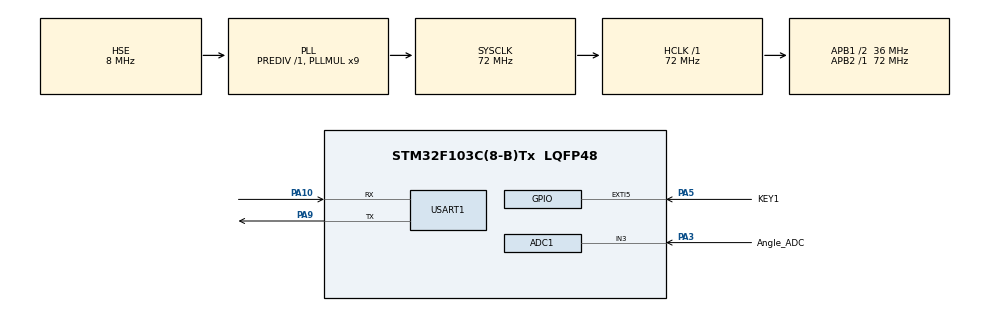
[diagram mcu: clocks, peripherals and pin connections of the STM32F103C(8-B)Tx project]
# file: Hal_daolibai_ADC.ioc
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ADC1.Channel-0\#ChannelRegularConversion=ADC_CHANNEL_3
ADC1.ContinuousConvMode=ENABLE
ADC1.DataAlign=ADC_DATAALIGN_RIGHT
ADC1.DiscontinuousConvMode=DISABLE
ADC1.EnableAnalogWatchDog=false
ADC1.EnableRegularConversion=ENABLE
ADC1.ExternalTrigConv=ADC_SOFTWARE_START
ADC1.InjNumberOfConversion=0
ADC1.NbrOfConversion=1
ADC1.NbrOfConversionFlag=1
ADC1.Rank-0\#ChannelRegularConversion=1
ADC1.SamplingTime-0\#ChannelRegularConversion=ADC_SAMPLETIME_55CYCLES_5
ADC1.ScanConvMode=ADC_SCAN_DISABLE
ADC1.master=1
Mcu.Family=STM32F1
Mcu.Name=STM32F103C(8-B)Tx
Mcu.Package=LQFP48
NVIC.ADC1_2_IRQn=true\:2\:0\:true\:false\:true\:true
NVIC.EXTI9_5_IRQn=true\:1\:0\:true\:false\:true\:true
NVIC.PriorityGroup=NVIC_PRIORITYGROUP_4
NVIC.TIM1_UP_IRQn=true\:0\:0\:false\:false\:true\:true
PA10.Mode=Asynchronous
PA10.Signal=USART1_RX
PA13.Mode=Serial_Wire
PA13.Signal=SYS_JTMS-SWDIO
PA14.Mode=Serial_Wire
PA14.Signal=SYS_JTCK-SWCLK
PA3.GPIO_Label=Angle_ADC
PA3.Signal=ADCx_IN3
PA5.GPIO_Label=KEY1
PA5.GPIO_ModeDefaultEXTI=GPIO_MODE_IT_FALLING
PA5.GPIO_PuPd=GPIO_PULLUP
PA5.Signal=GPXTI5
PA9.Mode=Asynchronous
PA9.Signal=USART1_TX
PD0-OSC_IN.Mode=HSE-External-Oscillator
PD0-OSC_IN.Signal=RCC_OSC_IN
PD1-OSC_OUT.Mode=HSE-External-Oscillator
PD1-OSC_OUT.Signal=RCC_OSC_OUT
ProjectManager.HeapSize=0x200
ProjectManager.StackSize=0x400
ProjectManager.TargetToolchain=MDK-ARM V5
RCC.ADCPresc=RCC_ADCPCLK2_DIV6
RCC.AHBFreq_Value=72000000
RCC.APB1CLKDivider=RCC_HCLK_DIV2
RCC.APB1Freq_Value=36000000
RCC.APB1TimFreq_Value=72000000
RCC.APB2Freq_Value=72000000
RCC.APB2TimFreq_Value=72000000
RCC.HCLKFreq_Value=72000000
RCC.PLLMUL=RCC_PLL_MUL9
RCC.PLLSourceVirtual=RCC_PLLSOURCE_HSE
RCC.SYSCLKFreq_VALUE=72000000
RCC.SYSCLKSource=RCC_SYSCLKSOURCE_PLLCLK
RCC.USBFreq_Value=72000000
SH.ADCx_IN3.0=ADC1_IN3,IN3
TIM1.Period=5000
TIM1.Prescaler=71
USART1.VirtualMode=VM_ASYNC
VP_TIM1_VS_ClockSourceINT.Mode=Internal
board=custom

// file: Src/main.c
/**
  ******************************************************************************
  * @file           : main.c
  * @brief          : Main program body
  ******************************************************************************
  ** This notice applies to any and all portions of this file
  * that are not between comment pairs USER CODE BEGIN and
  * USER CODE END. Other portions of this file, whether
  * inserted by the user or by software development tools
  * are owned by their respective copyright owners.
  *
  * COPYRIGHT(c) 2019 STMicroelectronics
  *
  * Redistribution and use in source and binary forms, with or without modification,
  * are permitted provided that the following conditions are met:
  *   1. Redistributions of source code must retain the above copyright notice,
  *      this list of conditions and the following disclaimer.
  *   2. Redistributions in binary form must reproduce the above copyright notice,
  *      this list of conditions and the following disclaimer in the documentation
  *      and/or other materials provided with the distribution.
  *   3. Neither the name of STMicroelectronics nor the names of its contributors
  *      may be used to endorse or promote products derived from this software
  *      without specific prior written permission.
  *
  * THIS SOFTWARE IS PROVIDED BY THE COPYRIGHT HOLDERS AND CONTRIBUTORS "AS IS"
  * AND ANY EXPRESS OR IMPLIED WARRANTIES, INCLUDING, BUT NOT LIMITED TO, THE
  * IMPLIED WARRANTIES OF MERCHANTABILITY AND FITNESS FOR A PARTICULAR PURPOSE ARE
  * DISCLAIMED. IN NO EVENT SHALL THE COPYRIGHT HOLDER OR CONTRIBUTORS BE LIABLE
  * FOR ANY DIRECT, INDIRECT, INCIDENTAL, SPECIAL, EXEMPLARY, OR CONSEQUENTIAL
  * DAMAGES (INCLUDING, BUT NOT LIMITED TO, PROCUREMENT OF SUBSTITUTE GOODS OR
  * SERVICES; LOSS OF USE, DATA, OR PROFITS; OR BUSINESS INTERRUPTION) HOWEVER
  * CAUSED AND ON ANY THEORY OF LIABILITY, WHETHER IN CONTRACT, STRICT LIABILITY,
  * OR TORT (INCLUDING NEGLIGENCE OR OTHERWISE) ARISING IN ANY WAY OUT OF THE USE
  * OF THIS SOFTWARE, EVEN IF ADVISED OF THE POSSIBILITY OF SUCH DAMAGE.
  *
  ******************************************************************************
  */
#include "main.h"
#include "stm32f1xx_hal.h"
#include "adc.h"
#include "tim.h"
#include "usart.h"
#include "gpio.h"

/* USER CODE BEGIN Includes */

#define USART_FLAG_CTS                       ((uint16_t)0x0200)
#define USART_FLAG_LBD                       ((uint16_t)0x0100)
#define USART_FLAG_TXE                       ((uint16_t)0x0080)
#define USART_FLAG_TC                        ((uint16_t)0x0040)
#define USART_FLAG_RXNE                      ((uint16_t)0x0020)
#define USART_FLAG_IDLE                      ((uint16_t)0x0010)
#define USART_FLAG_ORE                       ((uint16_t)0x0008)
#define USART_FLAG_NE                        ((uint16_t)0x0004)
#define USART_FLAG_FE                        ((uint16_t)0x0002)
#define USART_FLAG_PE                        ((uint16_t)0x0001)

#include "stdio.h"
#ifdef __GNUC__
#define PUTCHAR_PROTOTYPE int __io_putchar(int ch)
#else
#define PUTCHAR_PROTOTYPE int fputc(int ch, FILE *f)
#endif /* __GNUC__ */
PUTCHAR_PROTOTYPE
{
	HAL_UART_Transmit(&huart1 , (uint8_t *)&ch, 1, 0xFFFF);
	return ch;
}

FlagStatus USART_GetFlagStatus(USART_TypeDef* USARTx, uint16_t USART_FLAG)
{
  FlagStatus bitstatus = RESET;
  /* Check the parameters */
  assert_param(IS_USART_ALL_PERIPH(USARTx));
  assert_param(IS_USART_FLAG(USART_FLAG));
  /* The CTS flag is not available for UART4 and UART5 */
  if (USART_FLAG == USART_FLAG_CTS)
  {
    assert_param(IS_USART_123_PERIPH(USARTx));
  }

  if ((USARTx->SR & USART_FLAG) != (uint16_t)RESET)
  {
    bitstatus = SET;
  }
  else
  {
    bitstatus = RESET;
  }
  return bitstatus;
}

void USART_SendData(USART_TypeDef* USARTx, uint16_t Data)
{
  /* Check the parameters */
  assert_param(IS_USART_ALL_PERIPH(USARTx));
  assert_param(IS_USART_DATA(Data));

  /* Transmit Data */
  USARTx->DR = (Data & (uint16_t)0x01FF);
}

/* USER CODE END Includes */

/* USER CODE BEGIN PV */
/* Private variables ---------------------------------------------------------*/

__IO float ADC_ConvertedValueLocal;			// 用于保存转换计算后的电压值
__IO float Angle_Balance;
__IO uint16_t ADC_ConvertedValue;			// AD转换结果值
__IO uint8_t Flag_Stop=1;
__IO uint8_t start_key=0;
/* USER CODE END PV */

void SystemClock_Config(void);

/* USER CODE BEGIN PFP */
/* Private function prototypes -----------------------------------------------*/
void HMISends(char *buf1);
void HMISendb(u8 buf);
/* USER CODE END PFP */

/* USER CODE BEGIN 0 */

void HMISendstart(void)
	{
	 		HAL_Delay(1000);
			HAL_Delay(1000);
			HMISendb(0xff);
			HAL_Delay(1000);
			HAL_Delay(1000);
	}

void HMISends(char *buf1)		  //字符串发送函数
{
	u8 i=0;
	while(1)
	{
	 if(buf1[i]!=0)
	 	{
			USART_SendData(USART1,buf1[i]);  //发送一个字节
			while(USART_GetFlagStatus(USART1,USART_FLAG_TXE)==RESET){};//等待发送结束
		 	i++;
		}
	 else
	 return ;

		}
	}
void HMISendb(u8 k)		         //字节发送函数
{
	u8 i;
	 for(i=0;i<3;i++)
	 {
	 if(k!=0)
	 	{
			USART_SendData(USART1,k);  //发送一个字节
			while(USART_GetFlagStatus(USART1,USART_FLAG_TXE)==RESET){};//等待发送结束
		}
	 else
	 return ;

	 }
}
/* USER CODE END 0 */

int main(void)
{

  /* MCU Configuration----------------------------------------------------------*/

  /* Reset of all peripherals, Initializes the Flash interface and the Systick. */
  HAL_Init();

  /* Configure the system clock */
  SystemClock_Config();

  /* Initialize all configured peripherals */
  MX_GPIO_Init();
  MX_USART1_UART_Init();
  MX_ADC1_Init();
  MX_TIM1_Init();
  /* USER CODE BEGIN 2 */
	HMISendstart();          //为确保串口HMI正常通信
	printf("----这是一个ADC单通道电压采集+按键中断 实验-----\n");
  /* USER CODE END 2 */

  /* Infinite loop */
  /* USER CODE BEGIN WHILE */
  while (1)
  {
		HMISends("cls RED");  //发送串口指令
		HMISendb(0xff);		  //发送结束符 0XFF 0XFF 0XFF
		HAL_Delay(1000);
    	HMISends("cls GREEN");
		HMISendb(0xff);
    HAL_Delay(1000);
    	HMISends("cls BLUE");
		HMISendb(0xff);
		HAL_Delay(1000);
		HMISends("cls BLACK");
		HMISendb(0xff);
		HAL_Delay(1000);
		HMISends("page 4");
		HMISendb(0xff);
		HMISends("t0.txt=\"春风不度玉门关\"");
		HMISendb(0xff);
		HMISends("xstr 0,0,40,40,0,RED,BLACK,1,1,1,中国");//不建议使用这种指令去显示汉字，建议在上位机上输入你要显示的汉字
		HMISendb(0xff);
  /* USER CODE END WHILE */

  }

}

void SystemClock_Config(void)
{

  RCC_OscInitTypeDef RCC_OscInitStruct;
  RCC_ClkInitTypeDef RCC_ClkInitStruct;
  RCC_PeriphCLKInitTypeDef PeriphClkInit;

    /**Initializes the CPU, AHB and APB busses clocks
    */
  RCC_OscInitStruct.OscillatorType = RCC_OSCILLATORTYPE_HSE;
  RCC_OscInitStruct.HSEState = RCC_HSE_ON;
  RCC_OscInitStruct.HSEPredivValue = RCC_HSE_PREDIV_DIV1;
  RCC_OscInitStruct.HSIState = RCC_HSI_ON;
  RCC_OscInitStruct.PLL.PLLState = RCC_PLL_ON;
  RCC_OscInitStruct.PLL.PLLSource = RCC_PLLSOURCE_HSE;
  RCC_OscInitStruct.PLL.PLLMUL = RCC_PLL_MUL9;
  if (HAL_RCC_OscConfig(&RCC_OscInitStruct) != HAL_OK)
  {
    _Error_Handler(__FILE__, __LINE__);
  }

    /**Initializes the CPU, AHB and APB busses clocks
    */
  RCC_ClkInitStruct.ClockType = RCC_CLOCKTYPE_HCLK|RCC_CLOCKTYPE_SYSCLK
                              |RCC_CLOCKTYPE_PCLK1|RCC_CLOCKTYPE_PCLK2;
  RCC_ClkInitStruct.SYSCLKSource = RCC_SYSCLKSOURCE_PLLCLK;
  RCC_ClkInitStruct.AHBCLKDivider = RCC_SYSCLK_DIV1;
  RCC_ClkInitStruct.APB1CLKDivider = RCC_HCLK_DIV2;
  RCC_ClkInitStruct.APB2CLKDivider = RCC_HCLK_DIV1;

  if (HAL_RCC_ClockConfig(&RCC_ClkInitStruct, FLASH_LATENCY_2) != HAL_OK)
  {
    _Error_Handler(__FILE__, __LINE__);
  }

  PeriphClkInit.PeriphClockSelection = RCC_PERIPHCLK_ADC;
  PeriphClkInit.AdcClockSelection = RCC_ADCPCLK2_DIV6;
  if (HAL_RCCEx_PeriphCLKConfig(&PeriphClkInit) != HAL_OK)
  {
    _Error_Handler(__FILE__, __LINE__);
  }

    /**Configure the Systick interrupt time
    */
  HAL_SYSTICK_Config(HAL_RCC_GetHCLKFreq()/1000);

    /**Configure the Systick
    */
  HAL_SYSTICK_CLKSourceConfig(SYSTICK_CLKSOURCE_HCLK);

  /* SysTick_IRQn interrupt configuration */
  HAL_NVIC_SetPriority(SysTick_IRQn, 0, 0);
}

/* USER CODE BEGIN 4 */

/**
  * 函数功能: 按键外部中断服务函数
  * 输入参数: GPIO_Pin：中断引脚
  * 返 回 值: 无
  * 说    明: 无
  */
void HAL_GPIO_EXTI_Callback(uint16_t GPIO_Pin)
{
  if(GPIO_Pin==GPIO_PIN_5)
  {
    HAL_Delay(20);/* 延时一小段时间，消除抖动 */
    if(HAL_GPIO_ReadPin(GPIOA,GPIO_PIN_5)==0)
    {
			start_key=!start_key;
    }
    __HAL_GPIO_EXTI_CLEAR_IT(GPIO_PIN_5);
  }
}

///**
//  * 函数功能: AD转换结束回调函数
//  * 输入参数: hadc：AD设备类型句柄
//  * 返 回 值: 无
//  * 说    明: 无
//  */
//void HAL_ADC_ConvCpltCallback(ADC_HandleTypeDef* hadc)
//{
//  ADC_ConvertedValue=HAL_ADC_GetValue(&hadc1);
//}

/* USER CODE END 4 */

void _Error_Handler(char *file, int line)
{
  while(1)
  {
  }
}

/************************ (C) COPYRIGHT STMicroelectronics *****END OF FILE****/
